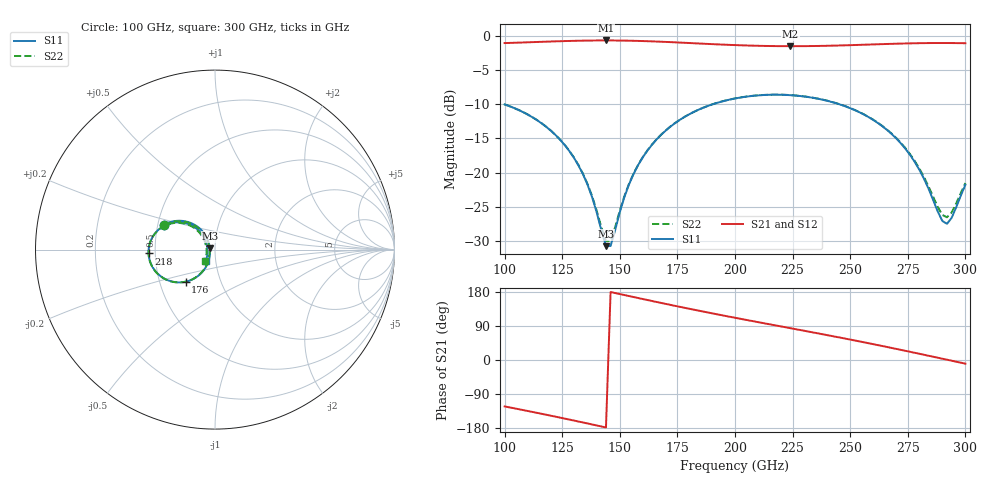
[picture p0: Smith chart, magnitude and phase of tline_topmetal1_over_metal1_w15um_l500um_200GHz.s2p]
#  GHZ S DB R 50
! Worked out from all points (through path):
!   101 points, 100 GHz to 300 GHz, reference 50 ohm
!   highest |S21| = -0.70 dB at 144 GHz (marker M1); lowest = -1.5 dB at 224 GHz (marker M2)
!   group delay of S21, straight-line fit = 3.4 ps
!   lowest |S11| = -30.7 dB at 144 GHz (marker M3), VSWR 1.06, Z = 47.2 + j0.596 ohm
!   |S11| at or under -10 dB: start of sweep to 190.5 GHz; 245.1 GHz to end of sweep
!   |S22| runs from -30.0 to -8.6 dB; largest |S21 - S12| = 1e-13
!   S11 on the Smith chart (normalised r, x): 100 GHz: 0.54, +0.17; 176 GHz: 0.68, -0.26; 218 GHz: 0.46, -0.02; 300 GHz: 0.90, -0.11
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100  -10.04 153.7  -1.08 -122.5  -1.08 -122.5  -10.03 154.2
120  -13.86 132.6  -0.85 -146.9  -0.85 -146.9  -13.84 133.5
128  -16.81 125.9  -0.77 -157.1  -0.77 -157.1  -16.77 127.1
134  -20.22 123.7  -0.73 -164.9  -0.73 -164.9  -20.15 125.4
138  -23.61 126.9  -0.71 -170.1  -0.71 -170.1  -23.45 129.2
144  -30.74 167.5  -0.70 -178.0  -0.70 -178.0  -30.01 169.1
146  -30.70 -160.6  -0.70 179.3  -0.70 179.3  -29.99 -161.8
152  -23.56 -120.7  -0.72 171.4  -0.72 171.4  -23.41 -122.3
156  -20.18 -117.5  -0.75 166.1  -0.75 166.1  -20.11 -118.6
168  -14.45 -124.6  -0.88 150.5  -0.88 150.5  -14.43 -124.9
176  -12.31 -132.4  -1.00 140.4  -1.00 140.4  -12.29 -132.6
200  -9.17 -157.9  -1.37 111.5  -1.37 111.5  -9.16 -157.6
218  -8.62 -176.6  -1.52 90.8  -1.52 90.8  -8.61 -176.2
224  -8.69 177.2  -1.53 84.0  -1.53 84.0  -8.67 177.7
234  -9.08 166.9  -1.51 72.6  -1.51 72.6  -9.07 167.6
252  -10.87 148.8  -1.36 51.5  -1.36 51.5  -10.85 149.8
268  -14.36 134.5  -1.19 31.8  -1.19 31.8  -14.30 136.0
280  -19.57 130.9  -1.10 16.4  -1.10 16.4  -19.39 133.5
290  -27.06 166.9  -1.07 3.4  -1.07 3.4  -26.18 168.8
292  -27.47 -173.4  -1.07 0.8  -1.07 0.8  -26.52 -173.7
294  -26.63 -154.9  -1.08 -1.9  -1.08 -1.9  -25.84 -157.0
300  -21.78 -128.7  -1.10 -9.7  -1.10 -9.7  -21.51 -131.2
